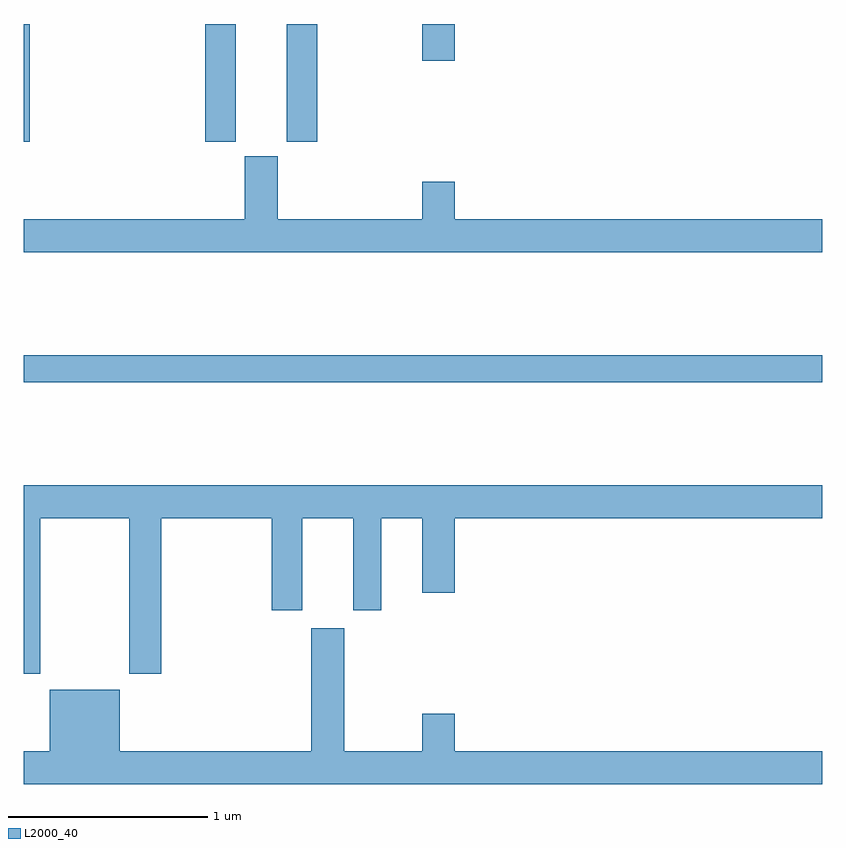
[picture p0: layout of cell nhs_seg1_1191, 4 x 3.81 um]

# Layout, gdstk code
import gdstk
lib = gdstk.Library(unit=1e-6, precision=1e-09)
def R(c, l, rs):  # rectangles x0, y0, x1, y1
    for r in rs: c.add(gdstk.rectangle(r[:2], r[2:], *l))
def P(c, l, *ps):  # polygons
    for p in ps: c.add(gdstk.Polygon(p, *l))
L2000_40 = (2000, 40)

nhs_seg1_1191 = lib.new_cell('nhs_seg1_1191')
R(nhs_seg1_1191, L2000_40, [(175,560.404,179,560.54), (175,561.609,175.031,562.199), (175.91,561.609,176.062,562.199), (176.318,561.609,176.471,562.199), (176.996,562.014,177.16,562.199)])
P(nhs_seg1_1191, L2000_40, [(179,561.22),(177.16,561.22),(177.16,561.409),(176.996,561.409),(176.996,561.22),(176.272,561.22),(176.272,561.537),(176.108,561.537),(176.108,561.22),(175,561.22),(175,561.056),(179,561.056)],
  [(175.083,559.724),(175.528,559.724),(175.528,558.945),(175.688,558.945),(175.688,559.724),(176.243,559.724),(176.243,559.263),(176.395,559.263),(176.395,559.724),(176.651,559.724),(176.651,559.263),(176.791,559.263),(176.791,559.724),(176.996,559.724),(176.996,559.35),(177.16,559.35),(177.16,559.724),(179,559.724),(179,559.888),(175,559.888),(175,558.945),(175.083,558.945)],
  [(179,558.556),(177.16,558.556),(177.16,558.745),(176.996,558.745),(176.996,558.556),(176.605,558.556),(176.605,559.171),(176.441,559.171),(176.441,558.556),(175.48,558.556),(175.48,558.865),(175.13,558.865),(175.13,558.556),(175,558.556),(175,558.392),(179,558.392)])

lib.write_gds('nhs_seg1_1191.gds')
